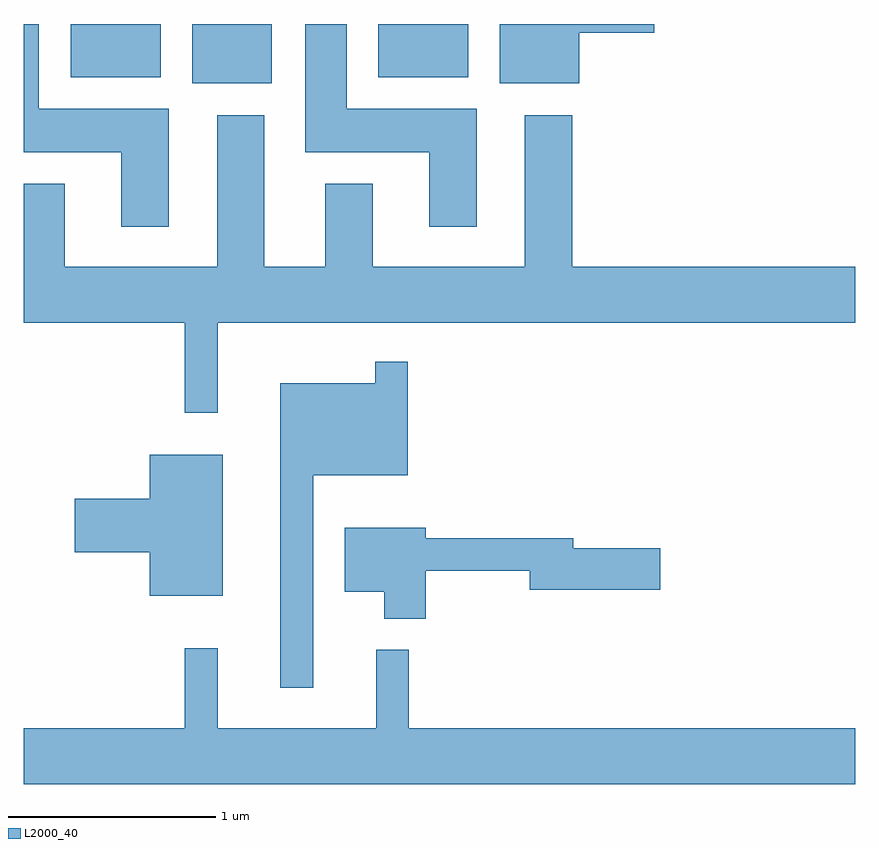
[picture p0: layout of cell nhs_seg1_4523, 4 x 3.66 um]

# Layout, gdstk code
import gdstk
lib = gdstk.Library(unit=1e-6, precision=1e-09)
def R(c, l, rs):  # rectangles x0, y0, x1, y1
    for r in rs: c.add(gdstk.rectangle(r[:2], r[2:], *l))
def P(c, l, *ps):  # polygons
    for p in ps: c.add(gdstk.Polygon(p, *l))
L2000_40 = (2000, 40)

nhs_seg1_4523 = lib.new_cell('nhs_seg1_4523')
R(nhs_seg1_4523, L2000_40, [(322.421,867.426,322.804,867.712), (321.836,867.456,322.269,867.712), (323.316,867.456,323.749,867.712)])
P(nhs_seg1_4523, L2000_40, [(322.309,867.304),(321.684,867.304),(321.684,867.712),(321.611,867.712),(321.611,867.096),(322.081,867.096),(322.081,866.736),(322.309,866.736)],
  [(323.789,867.304),(323.164,867.304),(323.164,867.712),(322.966,867.712),(322.966,867.096),(323.561,867.096),(323.561,866.736),(323.789,866.736)],
  [(324.284,867.671),(324.644,867.671),(324.644,867.712),(323.901,867.712),(323.901,867.426),(324.284,867.426)],
  [(321.611,866.944),(321.611,866.276),(322.386,866.276),(322.386,865.843),(322.544,865.843),(322.544,866.276),(325.611,866.276),(325.611,866.544),(324.249,866.544),(324.249,867.274),(324.021,867.274),(324.021,866.544),(323.289,866.544),(323.289,866.944),(323.061,866.944),(323.061,866.544),(322.769,866.544),(322.769,867.274),(322.541,867.274),(322.541,866.544),(321.809,866.544),(321.809,866.944)],
  [(323.004,865.541),(323.459,865.541),(323.459,866.088),(323.301,866.088),(323.301,865.984),(322.846,865.984),(322.846,864.518),(323.004,864.518)],
  [(322.569,865.639),(322.216,865.639),(322.216,865.429),(321.856,865.429),(321.856,865.171),(322.216,865.171),(322.216,864.961),(322.569,864.961)],
  [(323.544,865.081),(324.046,865.081),(324.046,864.991),(324.674,864.991),(324.674,865.189),(324.254,865.189),(324.254,865.239),(323.544,865.239),(323.544,865.289),(323.156,865.289),(323.156,864.981),(323.346,864.981),(323.346,864.851),(323.544,864.851)],
  [(325.611,864.324),(323.464,864.324),(323.464,864.703),(323.306,864.703),(323.306,864.324),(322.544,864.324),(322.544,864.708),(322.386,864.708),(322.386,864.324),(321.611,864.324),(321.611,864.056),(325.611,864.056)])

lib.write_gds('nhs_seg1_4523.gds')
